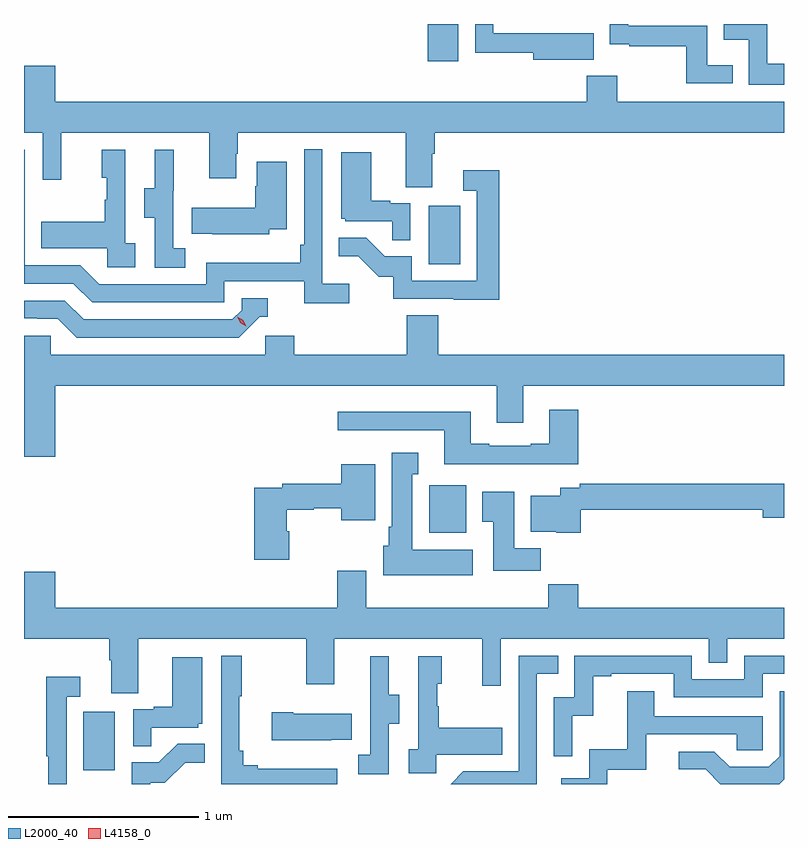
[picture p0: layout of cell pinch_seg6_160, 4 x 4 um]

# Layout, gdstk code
import gdstk
lib = gdstk.Library(unit=1e-6, precision=1e-09)
def R(c, l, rs):  # rectangles x0, y0, x1, y1
    for r in rs: c.add(gdstk.rectangle(r[:2], r[2:], *l))
def P(c, l, *ps):  # polygons
    for p in ps: c.add(gdstk.Polygon(p, *l))
L2000_40 = (2000, 40)
L4158_0 = (4158, 0)

pinch_seg6_160 = lib.new_cell('pinch_seg6_160')
R(pinch_seg6_160, L2000_40, [(1016.468,935.988,1016.632,936.295), (1018.287,937.238,1018.483,937.488), (1018.286,938.652,1018.45,938.959), (1018.28,939.72,1018.441,939.916)])
P(pinch_seg6_160, L2000_40, [(1019.153,939.868),(1018.939,939.868),(1018.939,939.867),(1018.626,939.867),(1018.626,939.916),(1018.53,939.916),(1018.53,939.766),(1018.835,939.766),(1018.835,939.728),(1019.153,939.728)],
  [(1020.155,939.706),(1020.067,939.706),(1020.067,939.916),(1019.838,939.916),(1019.838,939.833),(1019.97,939.833),(1019.97,939.597),(1020.155,939.597)],
  [(1019.885,939.7),(1019.751,939.7),(1019.751,939.906),(1019.334,939.906),(1019.334,939.916),(1019.238,939.916),(1019.238,939.809),(1019.341,939.809),(1019.341,939.798),(1019.64,939.798),(1019.64,939.603),(1019.885,939.603)],
  [(1018.303,939.232),(1018.316,939.232),(1018.316,939.344),(1020.155,939.344),(1020.155,939.508),(1019.277,939.508),(1019.277,939.643),(1019.117,939.643),(1019.117,939.508),(1016.32,939.508),(1016.32,939.697),(1016.156,939.697),(1016.156,939.508),(1016.155,939.508),(1016.155,939.344),(1016.253,939.344),(1016.253,939.096),(1016.351,939.096),(1016.351,939.344),(1017.131,939.344),(1017.131,939.105),(1017.271,939.105),(1017.271,939.233),(1017.279,939.233),(1017.279,939.344),(1018.163,939.344),(1018.163,939.058),(1018.303,939.058)],
  [(1017.868,938.548),(1017.726,938.548),(1017.726,939.256),(1017.63,939.256),(1017.63,938.755),(1017.61,938.755),(1017.61,938.659),(1017.114,938.659),(1017.114,938.547),(1016.55,938.547),(1016.451,938.646),(1016.16,938.646),(1016.16,939.255),(1016.155,939.255),(1016.155,938.55),(1016.414,938.55),(1016.513,938.451),(1017.21,938.451),(1017.21,938.562),(1017.629,938.562),(1017.629,938.446),(1017.868,938.446)],
  [(1016.74,938.762),(1016.688,938.762),(1016.688,939.253),(1016.564,939.253),(1016.564,939.108),(1016.59,939.108),(1016.59,938.99),(1016.58,938.99),(1016.58,938.875),(1016.245,938.875),(1016.245,938.735),(1016.592,938.735),(1016.592,938.637),(1016.74,938.637)],
  [(1017.004,938.735),(1016.94,938.735),(1016.94,939.039),(1016.942,939.039),(1016.942,939.253),(1016.843,939.253),(1016.843,939.051),(1016.789,939.051),(1016.789,938.896),(1016.844,938.896),(1016.844,938.632),(1017.004,938.632)],
  [(1018.188,938.973),(1018.082,938.973),(1018.082,938.986),(1017.982,938.986),(1017.982,939.241),(1017.824,939.241),(1017.824,938.892),(1017.846,938.892),(1017.846,938.877),(1018.093,938.877),(1018.093,938.779),(1018.188,938.779)],
  [(1017.447,938.837),(1017.538,938.837),(1017.538,939.19),(1017.38,939.19),(1017.38,939.062),(1017.373,939.062),(1017.373,938.95),(1017.037,938.95),(1017.037,938.813),(1017.145,938.813),(1017.145,938.81),(1017.447,938.81)],
  [(1018.655,939.145),(1018.467,939.145),(1018.467,939.039),(1018.539,939.039),(1018.539,938.565),(1018.197,938.565),(1018.197,938.694),(1018.053,938.694),(1017.955,938.792),(1017.811,938.792),(1017.811,938.693),(1017.915,938.693),(1018.022,938.586),(1018.099,938.586),(1018.099,938.469),(1018.417,938.469),(1018.417,938.464),(1018.655,938.464)],
  [(1017.396,938.376),(1017.439,938.376),(1017.439,938.472),(1017.3,938.472),(1017.3,938.409),(1017.252,938.361),(1016.469,938.361),(1016.37,938.46),(1016.155,938.46),(1016.155,938.367),(1016.226,938.367),(1016.226,938.364),(1016.333,938.364),(1016.432,938.265),(1017.285,938.265)],
  [(1016.32,938.012),(1018.643,938.012),(1018.643,937.818),(1018.783,937.818),(1018.783,938.012),(1020.155,938.012),(1020.155,938.176),(1018.334,938.176),(1018.334,938.384),(1018.169,938.384),(1018.169,938.176),(1017.578,938.176),(1017.578,938.274),(1017.426,938.274),(1017.426,938.176),(1016.295,938.176),(1016.295,938.274),(1016.155,938.274),(1016.155,938.012),(1016.156,938.012),(1016.156,937.638),(1016.32,937.638)],
  [(1019.072,937.885),(1018.919,937.885),(1018.919,937.708),(1018.823,937.708),(1018.823,937.695),(1018.603,937.695),(1018.603,937.708),(1018.507,937.708),(1018.507,937.876),(1017.807,937.876),(1017.807,937.779),(1018.367,937.779),(1018.367,937.598),(1019.072,937.598)],
  [(1018.516,937.15),(1018.198,937.15),(1018.198,937.547),(1018.231,937.547),(1018.231,937.66),(1018.091,937.66),(1018.091,937.27),(1018.076,937.27),(1018.076,937.17),(1018.046,937.17),(1018.046,937.016),(1018.516,937.016)],
  [(1017.551,937.245),(1017.538,937.245),(1017.538,937.36),(1017.681,937.36),(1017.681,937.368),(1017.824,937.368),(1017.824,937.304),(1018.003,937.304),(1018.003,937.6),(1017.824,937.6),(1017.824,937.496),(1017.514,937.496),(1017.514,937.476),(1017.368,937.476),(1017.368,937.095),(1017.551,937.095)],
  [(1019.086,937.36),(1020.044,937.36),(1020.044,937.318),(1020.155,937.318),(1020.155,937.496),(1019.08,937.496),(1019.08,937.476),(1018.977,937.476),(1018.977,937.432),(1018.823,937.432),(1018.823,937.244),(1018.956,937.244),(1018.956,937.238),(1019.086,937.238)],
  [(1018.874,937.156),(1018.735,937.156),(1018.735,937.453),(1018.568,937.453),(1018.568,937.297),(1018.625,937.297),(1018.625,937.038),(1018.874,937.038)],
  [(1016.755,936.68),(1017.64,936.68),(1017.64,936.441),(1017.787,936.441),(1017.787,936.68),(1018.568,936.68),(1018.568,936.432),(1018.665,936.432),(1018.665,936.68),(1019.76,936.68),(1019.76,936.553),(1019.856,936.553),(1019.856,936.68),(1020.155,936.68),(1020.155,936.844),(1019.072,936.844),(1019.072,936.968),(1018.915,936.968),(1018.915,936.844),(1017.955,936.844),(1017.955,937.039),(1017.803,937.039),(1017.803,936.844),(1016.32,936.844),(1016.32,937.033),(1016.156,937.033),(1016.156,936.844),(1016.155,936.844),(1016.155,936.68),(1016.603,936.68),(1016.603,936.568),(1016.615,936.568),(1016.615,936.394),(1016.755,936.394)],
  [(1017.804,935.995),(1017.385,935.995),(1017.385,936.014),(1017.308,936.014),(1017.308,936.091),(1017.289,936.091),(1017.289,936.379),(1017.301,936.379),(1017.301,936.592),(1017.192,936.592),(1017.192,935.916),(1017.804,935.916)],
  [(1019.04,936.275),(1019.15,936.275),(1019.15,936.483),(1019.245,936.483),(1019.245,936.495),(1019.574,936.495),(1019.574,936.372),(1020.042,936.372),(1020.042,936.495),(1020.155,936.495),(1020.155,936.591),(1019.946,936.591),(1019.946,936.468),(1019.67,936.468),(1019.67,936.591),(1019.052,936.591),(1019.052,936.372),(1018.944,936.372),(1018.944,936.063),(1019.04,936.063)],
  [(1018.854,936.495),(1018.967,936.495),(1018.967,936.591),(1018.758,936.591),(1018.758,935.982),(1018.467,935.982),(1018.401,935.916),(1018.854,935.916)],
  [(1018.074,936.232),(1018.129,936.232),(1018.129,936.387),(1018.075,936.387),(1018.075,936.589),(1017.977,936.589),(1017.977,936.375),(1017.978,936.375),(1017.978,936.071),(1017.915,936.071),(1017.915,935.968),(1018.074,935.968)],
  [(1018.326,936.071),(1018.673,936.071),(1018.673,936.211),(1018.339,936.211),(1018.339,936.326),(1018.329,936.326),(1018.329,936.444),(1018.354,936.444),(1018.354,936.589),(1018.23,936.589),(1018.23,936.098),(1018.179,936.098),(1018.179,935.973),(1018.326,935.973)],
  [(1016.825,936.213),(1017.072,936.213),(1017.072,936.234),(1017.094,936.234),(1017.094,936.583),(1016.936,936.583),(1016.936,936.322),(1016.837,936.322),(1016.837,936.309),(1016.73,936.309),(1016.73,936.115),(1016.825,936.115)],
  [(1016.379,936.375),(1016.452,936.375),(1016.452,936.481),(1016.271,936.481),(1016.271,936.061),(1016.283,936.061),(1016.283,935.916),(1016.379,935.916)],
  [(1019.226,935.991),(1019.431,935.991),(1019.431,936.177),(1019.905,936.177),(1019.905,936.093),(1020.042,936.093),(1020.042,936.273),(1019.473,936.273),(1019.473,936.403),(1019.329,936.403),(1019.329,936.1),(1019.13,936.1),(1019.13,935.946),(1018.983,935.946),(1018.983,935.916),(1019.226,935.916)],
  [(1020.155,935.942),(1020.155,936.403),(1020.132,936.403),(1020.132,936.063),(1020.075,936.006),(1019.869,936.006),(1019.788,936.087),(1019.601,936.087),(1019.601,935.994),(1019.742,935.994),(1019.82,935.916),(1020.129,935.916)],
  [(1017.773,936.149),(1017.881,936.149),(1017.881,936.286),(1017.571,936.286),(1017.571,936.294),(1017.459,936.294),(1017.459,936.146),(1017.773,936.146)],
  [(1016.82,935.922),(1016.896,935.922),(1017.003,936.029),(1017.107,936.029),(1017.107,936.128),(1016.963,936.128),(1016.865,936.03),(1016.721,936.03),(1016.721,935.916),(1016.82,935.916)])
P(pinch_seg6_160, L4158_0, [(1017.325,938.325),(1017.294,938.344),(1017.278,938.376),(1017.278,938.376),(1017.278,938.376),(1017.309,938.357),(1017.325,938.325),(1017.325,938.325)])

lib.write_gds('pinch_seg6_160.gds')
